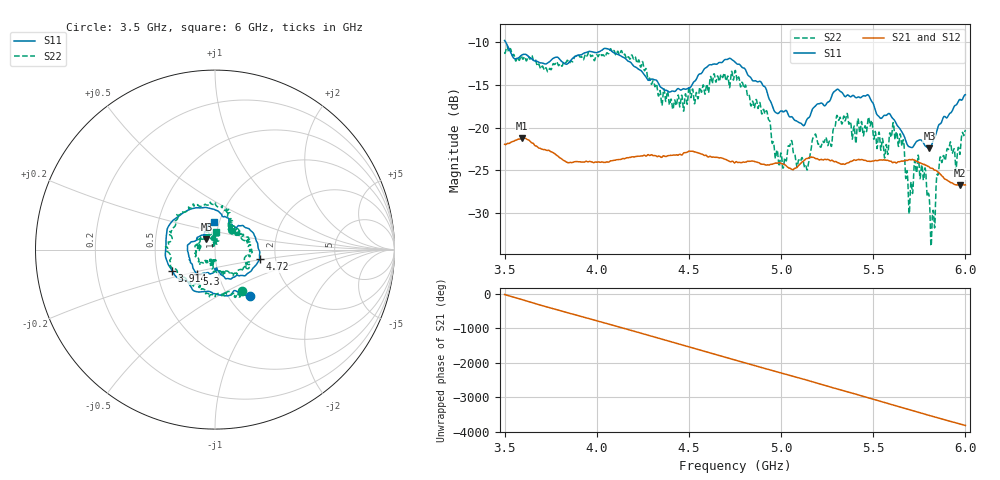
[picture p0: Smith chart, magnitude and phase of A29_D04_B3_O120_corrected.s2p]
! Created with skrf 1.9.0 (http://scikit-rf.org).
# Hz S RI R 50.0
!freq ReS11 ImS11 ReS21 ImS21 ReS12 ImS12 ReS22 ImS22
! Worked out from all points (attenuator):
!   1601 points, 3.5 GHz to 6 GHz, reference 50 ohm
!   highest |S21| = -21.22 dB at 3.595 GHz (marker M1); lowest = -26.7 dB at 5.97 GHz (marker M2)
!   lowest |S11| = -22.4 dB at 5.805 GHz (marker M3), VSWR 1.16, Z = 45.1 + j5.3 ohm
!   |S11| at or under -10 dB: 3.505 GHz to end of sweep
!   |S22| runs from -33.9 to -10.5 dB; largest |S21 - S12| = 0.001
!   S11 on the Smith chart (normalised r, x): 3.5 GHz: 1.25, -0.72; 3.914 GHz: 0.60, -0.15; 4.72 GHz: 1.65, -0.18; 5.3 GHz: 0.79, -0.22; 6 GHz: 0.94, +0.30
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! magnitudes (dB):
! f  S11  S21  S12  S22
! 3.5 GHz  -9.8  -22.0  -21.9  -11.2
! 3.595 GHz  -11.5  -21.2  -21.2  -11.9
! 3.914 GHz  -11.5  -24.0  -24.0  -11.7
! 3.917 GHz  -11.5  -24.0  -24.0  -11.7
! 4.198 GHz  -12.8  -23.4  -23.4  -12.0
! 4.334 GHz  -14.8  -23.4  -23.3  -16.3
! 4.72 GHz  -11.9  -24.0  -24.0  -15.3
! 4.75 GHz  -12.3  -24.1  -24.0  -13.4
! 4.928 GHz  -16.2  -24.4  -24.3  -18.7
! 5 GHz  -18.1  -24.2  -24.2  -23.0
! 5.167 GHz  -18.0  -23.5  -23.4  -21.8
! 5.3 GHz  -15.6  -24.0  -23.9  -18.8
! 5.584 GHz  -18.4  -23.9  -23.8  -21.9
! 5.655 GHz  -20.5  -23.9  -23.8  -22.1
! 5.702 GHz  -22.3  -23.8  -23.7  -27.2
! 5.734 GHz  -21.6  -23.9  -23.9  -25.3
! 5.773 GHz  -21.9  -24.3  -24.2  -26.1
! 5.805 GHz  -22.4  -24.6  -24.6  -28.5
! 5.823 GHz  -21.6  -24.8  -24.8  -29.7
! 5.87 GHz  -19.4  -25.6  -25.5  -24.0
! 5.97 GHz  -16.7  -26.7  -26.7  -23.1
! 6 GHz  -16.2  -26.7  -26.6  -20.3
